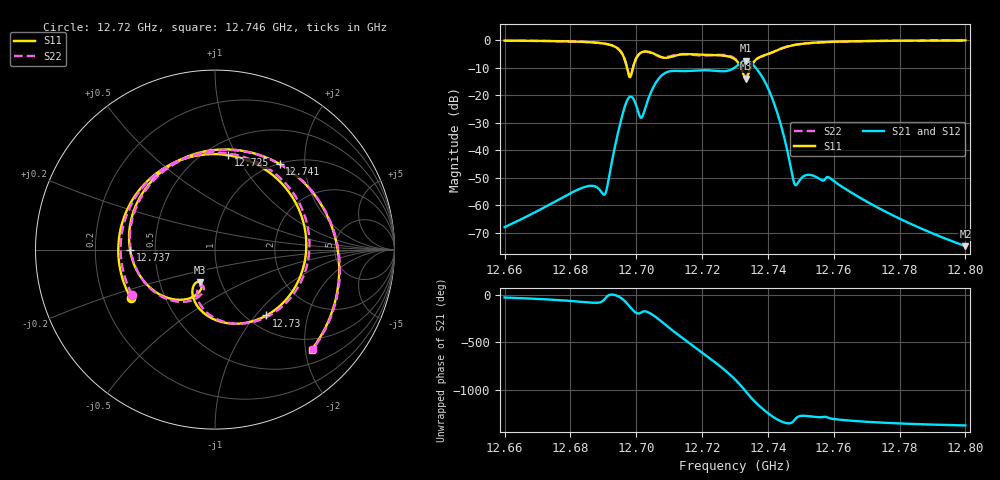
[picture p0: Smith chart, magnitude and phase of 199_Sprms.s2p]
! TOUCHSTONE file generated by CST MICROWAVE STUDIO
! Date and time: Wed Jul 31 20:59:52 2024
! Project name: WaveGuide_BPF-Ver4.1_U-shape_Ku_T3_C4_CWA_2.cst
! Parameters = {cavity_h=16; cavity_l0=10; cavity_l1=15.2208; cavity_l2=16.8682; cavity_l3=17.1346; cavity_l4=17.3064; cavity_l5=17.1709; cavity_l6=17.5598; cavity_r=2.5; cavity_screw_l=0.5; cavity_screw_r=1.5; cavity_w=8; iris_h00=0; iris_h01=8.8227; iris_h112=0; iris_h12=5.6031; iris_h211=3.6574; 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
! Header version: 2018
! Port assignment regex: !\s*Touchstone port\s*([0-9]+)\s*=\s*(CST MWS port|CST DS port)\s*([0-9]+|Zmin|Zmax)\s*\(\"(.*)\"\)(\s*mode\s*([0-9]+))?.*
! Touchstone port assignment:
! Touchstone port 1 = CST MWS port 1 ("")
! Touchstone port 2 = CST MWS port 2 ("")
# GHz S RI R 50
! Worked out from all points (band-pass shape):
!   5001 points, 12.66 GHz to 12.8 GHz, reference 50 ohm
!   highest |S21| = -7.43 dB at 12.733 GHz (marker M1); lowest = -74.8 dB at 12.8 GHz (marker M2)
!   |S21| within 3 dB of the highest: 12.7293 GHz to 12.73657 GHz (7.271 MHz wide, 0.0571 % of centre)
!   lowest |S11| = -14.0 dB at 12.733 GHz (marker M3), VSWR 1.50, Z = 39.7 - j15 ohm
!   |S11| at or under -10 dB: 12.69719 GHz to 12.69901 GHz (1.823 MHz wide, 0.0144 % of centre); 12.73175 GHz to 12.73477 GHz (3.013 MHz wide, 0.0237 % of centre)
!   |S22| runs from -13.5 to -0.1 dB; largest |S21 - S12| = 1e-09
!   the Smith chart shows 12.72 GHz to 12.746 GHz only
!   S11 on the Smith chart (normalised r, x): 12.72 GHz: 0.32, -0.24; 12.725 GHz: 0.63, +0.93; 12.73 GHz: 1.22, -1.14; 12.737 GHz: 0.36, -0.00; 12.741 GHz: 1.01, +1.50; 12.746 GHz: 0.76, -2.13
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12.66  0.4406 0.8709  0.000347 -0.000209  0.000347 -0.000209  0.4342 0.8744
12.68335  0.8869 0.28  0.000492 -0.00201  0.000492 -0.00201  0.8827 0.2945
12.69058  0.8106 -0.2777  0.00124 -0.00106  0.00124 -0.00106  0.8156 -0.2625
12.69489  0.2349 -0.6173  0.0242 -0.0115  0.0242 -0.0115  0.2433 -0.6123
12.69727  -0.2515 -0.167  -0.00774 -0.0808  -0.00774 -0.0808  -0.251 -0.1673
12.69926  0.1935 0.3002  -0.0824 -0.0114  -0.0824 -0.0114  0.188 0.3048
12.70172  0.564 -0.2129  -0.0398 0.00192  -0.0398 0.00192  0.5597 -0.2081
12.70668  -0.4356 -0.2774  -0.0515 0.1877  -0.0515 0.1877  -0.4501 -0.2418
12.71037  -0.0244 0.4913  0.2724 0.0122  0.2724 0.0122  -0.0143 0.5089
12.71396  0.5481 -0.0411  -0.00863 -0.2742  -0.00863 -0.2742  0.5564 -0.00549
12.71984  -0.4705 -0.2679  -0.1367 0.2488  -0.1367 0.2488  -0.461 -0.2526
12.72474  0.073 0.5259  0.2706 -0.045  0.2706 -0.045  0.1103 0.5286
12.72955  0.2868 -0.3668  -0.2692 -0.1479  -0.2692 -0.1479  0.3208 -0.357
12.73  0.1911 -0.4038  -0.3108 -0.0758  -0.3108 -0.0758  0.2296 -0.3984
12.73328  -0.0842 -0.1808  0.1665 0.391  0.1665 0.391  -0.0709 -0.1998
12.73333  -0.0818 -0.1823  0.1823 0.3839  0.1823 0.3839  -0.0689 -0.2008
12.737  -0.4734 -0.00169  0.0906 -0.2631  0.0906 -0.2631  -0.4669 -0.0175
12.74128  0.3604 0.4765  -0.087 0.0175  -0.087 0.0175  0.3643 0.4743
12.74641  0.5379 -0.5582  -0.000572 0.00704  -0.000572 0.00704  0.5462 -0.5535
12.75335  -0.2648 -0.8487  -0.00342 0.000881  -0.00342 0.000881  -0.2498 -0.8529
12.77668  -0.9664 -0.0685  -0.000107 0.000715  -0.000107 0.000715  -0.9655 -0.075
12.8  -0.921 0.3456  5.51e-05 0.000174  5.51e-05 0.000174  -0.9216 0.3436
